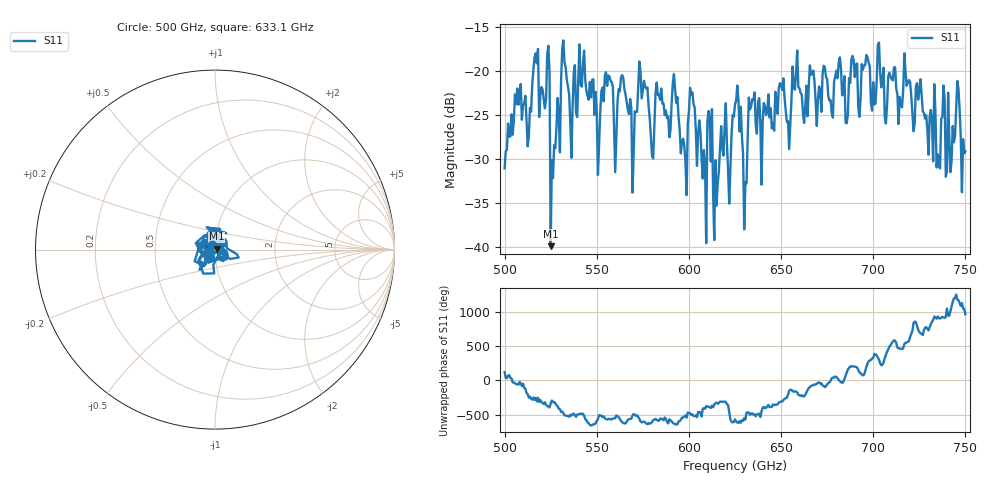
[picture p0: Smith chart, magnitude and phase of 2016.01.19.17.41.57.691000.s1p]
!Created with skrf (http://scikit-rf.org).
# GHz S RI R 50.0
!freq ReS11 ImS11
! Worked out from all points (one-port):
!   401 points, 500 GHz to 750 GHz, reference 50 ohm
!   lowest |S11| = -39.9 dB at 525 GHz (marker M1), VSWR 1.02, Z = 50.9 + j0.466 ohm
!   |S11| at or under -10 dB: start of sweep to end of sweep
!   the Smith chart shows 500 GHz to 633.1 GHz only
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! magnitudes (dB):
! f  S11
! 500 GHz  -31.0
! 507.5 GHz  -23.8
! 513.1 GHz  -27.5
! 516.9 GHz  -18.0
! 523.1 GHz  -18.1
! 525 GHz  -39.9
! 526.2 GHz  -32.1
! 531.2 GHz  -17.5
! 535.6 GHz  -25.8
! 541.9 GHz  -21.8
! 550 GHz  -24.7
! 562.5 GHz  -22.3
! 570.6 GHz  -24.6
! 574.4 GHz  -23.1
! 580 GHz  -29.6
! 593.8 GHz  -23.0
! 597.5 GHz  -28.5
! 601.9 GHz  -22.4
! 608.1 GHz  -29.0
! 611.2 GHz  -25.3
! 614.4 GHz  -30.1
! 625 GHz  -23.8
! 630.6 GHz  -32.6
! 633.8 GHz  -24.0
! 656.2 GHz  -19.5
! 687.5 GHz  -21.4
! 718.8 GHz  -21.3
! 750 GHz  -29.1
